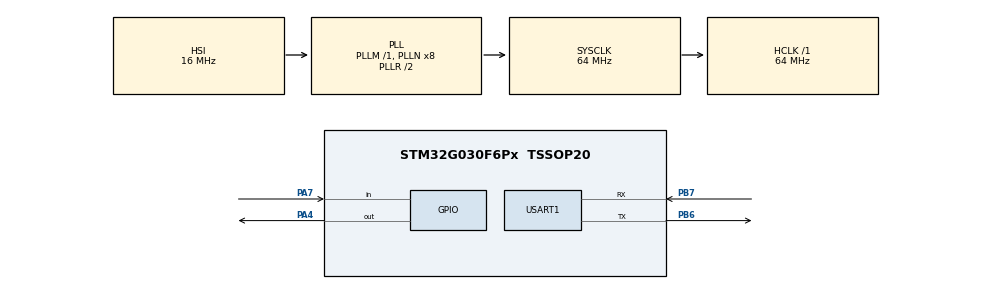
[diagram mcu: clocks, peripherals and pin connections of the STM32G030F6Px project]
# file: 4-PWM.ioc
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Mcu.Family=STM32G0
Mcu.Name=STM32G030F6Px
Mcu.Package=TSSOP20
NVIC.TIM16_IRQn=true\:2\:0\:true\:false\:true\:true\:true\:true
NVIC.USART1_IRQn=true\:1\:0\:true\:false\:true\:true\:true\:true
PA13.Mode=Serial_Wire
PA13.Signal=SYS_SWDIO
PA14-BOOT0.Mode=Serial_Wire
PA14-BOOT0.Signal=SYS_SWCLK
PA14-BOOT0__PA15.StandardMode=true
PA4.Signal=GPIO_Output
PA7.Signal=GPIO_Input
PB0__PB1__PB2__PA8.StandardMode=true
PB3__PB4__PB5__PB6.StandardMode=true
PB6.Mode=Asynchronous
PB6.Signal=USART1_TX
PB7.Mode=Asynchronous
PB7.Signal=USART1_RX
PB7__PB8.StandardMode=true
PC14-OSC32_IN\ (PC14)__PB9.StandardMode=true
ProjectManager.HeapSize=0x200
ProjectManager.StackSize=0x400
ProjectManager.TargetToolchain=MDK-ARM V5.32
RCC.ADCFreq_Value=64000000
RCC.AHBFreq_Value=64000000
RCC.CortexFreq_Value=64000000
RCC.EXTERNAL_CLOCK_VALUE=12288000
RCC.HCLKFreq_Value=64000000
RCC.HSE_VALUE=8000000
RCC.HSI_VALUE=16000000
RCC.LSE_VALUE=32768
RCC.SYSCLKFreq_VALUE=64000000
RCC.SYSCLKSource=RCC_SYSCLKSOURCE_PLLCLK
RCC.VCOOutputFreq_Value=128000000
TIM16.Period=5000-1
TIM16.Prescaler=6400-1
USART1.VirtualMode-Asynchronous=VM_ASYNC
VP_TIM16_VS_ClockSourceINT.Mode=Enable_Timer
board=custom

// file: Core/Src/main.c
/* USER CODE BEGIN Header */
/**
  ******************************************************************************
  * @file           : main.c
  * @brief          : Main program body
  ******************************************************************************
  * @attention
  *
  * Copyright (c) 2023 STMicroelectronics.
  * All rights reserved.
  *
  * This software is licensed under terms that can be found in the LICENSE file
  * in the root directory of this software component.
  * If no LICENSE file comes with this software, it is provided AS-IS.
  *
  ******************************************************************************
  */
/* USER CODE END Header */
#include "main.h"
#include "tim.h"
#include "usart.h"
#include "gpio.h"

/* USER CODE BEGIN PTD */

#define USER_KEY    HAL_GPIO_ReadPin(GPIOA,GPIO_PIN_7)  //KEY按键PA7

#define USER_KEY_PRES	1		//KEY
/* USER CODE END PTD */

void SystemClock_Config(void);

/* USER CODE BEGIN 0 */
uint8_t KEY_Scan(uint8_t mode);

/* USER CODE END 0 */

int main(void)
{
  /* USER CODE BEGIN 1 */
	uint8_t t=0;
	extern uint32_t tim_ms;
  /* USER CODE END 1 */

  /* MCU Configuration--------------------------------------------------------*/

  /* Reset of all peripherals, Initializes the Flash interface and the Systick. */
  HAL_Init();

  /* Configure the system clock */
  SystemClock_Config();

  /* Initialize all configured peripherals */
  MX_GPIO_Init();
  MX_USART1_UART_Init();
  MX_TIM16_Init();//时钟频率64M 计算可得定时器16的中断进入时间是500ms
  /* USER CODE BEGIN 2 */
  HAL_GPIO_WritePin(GPIOA,GPIO_PIN_4,GPIO_PIN_RESET);   //PA4对应引脚低

  /* USER CODE END 2 */

  /* Infinite loop */
  while (1)
  {

    /* USER CODE BEGIN 3 */
		t=KEY_Scan(0);		//得到键值
		if(t==USER_KEY_PRES){
			tim_ms=0;
			printf("\r\nKEY按键按下 已清空计数器\r\n");
		}
  }
  /* USER CODE END 3 */
}

void SystemClock_Config(void)
{
  RCC_OscInitTypeDef RCC_OscInitStruct = {0};
  RCC_ClkInitTypeDef RCC_ClkInitStruct = {0};

  /** Configure the main internal regulator output voltage
  */
  HAL_PWREx_ControlVoltageScaling(PWR_REGULATOR_VOLTAGE_SCALE1);

  /** Initializes the RCC Oscillators according to the specified parameters
  * in the RCC_OscInitTypeDef structure.
  */
  RCC_OscInitStruct.OscillatorType = RCC_OSCILLATORTYPE_HSI;
  RCC_OscInitStruct.HSIState = RCC_HSI_ON;
  RCC_OscInitStruct.HSIDiv = RCC_HSI_DIV1;
  RCC_OscInitStruct.HSICalibrationValue = RCC_HSICALIBRATION_DEFAULT;
  RCC_OscInitStruct.PLL.PLLState = RCC_PLL_ON;
  RCC_OscInitStruct.PLL.PLLSource = RCC_PLLSOURCE_HSI;
  RCC_OscInitStruct.PLL.PLLM = RCC_PLLM_DIV1;
  RCC_OscInitStruct.PLL.PLLN = 8;
  RCC_OscInitStruct.PLL.PLLP = RCC_PLLP_DIV2;
  RCC_OscInitStruct.PLL.PLLR = RCC_PLLR_DIV2;
  if (HAL_RCC_OscConfig(&RCC_OscInitStruct) != HAL_OK)
  {
    Error_Handler();
  }

  /** Initializes the CPU, AHB and APB buses clocks
  */
  RCC_ClkInitStruct.ClockType = RCC_CLOCKTYPE_HCLK|RCC_CLOCKTYPE_SYSCLK
                              |RCC_CLOCKTYPE_PCLK1;
  RCC_ClkInitStruct.SYSCLKSource = RCC_SYSCLKSOURCE_PLLCLK;
  RCC_ClkInitStruct.AHBCLKDivider = RCC_SYSCLK_DIV1;
  RCC_ClkInitStruct.APB1CLKDivider = RCC_HCLK_DIV1;

  if (HAL_RCC_ClockConfig(&RCC_ClkInitStruct, FLASH_LATENCY_2) != HAL_OK)
  {
    Error_Handler();
  }
}

/* USER CODE BEGIN 4 */

//按键处理函数
//返回按键值
//mode:0,不支持连续按;1,支持连续按;
//返回值：
//0，没有任何按键按下
//USER_KEY_PRES，USER_KEY按下

uint8_t KEY_Scan(uint8_t mode)
{
	static uint8_t key_up=1;//按键按松开标志
	if(mode)key_up=1;  //支持连按
	if(key_up&&(USER_KEY==0))
	{
		HAL_Delay(10);//去抖动
		key_up=0;
		if(USER_KEY==0)return USER_KEY_PRES;
	}else if(USER_KEY==1)key_up=1;
	return 0;// 无按键按下
}

/* USER CODE END 4 */

void Error_Handler(void)
{
  __disable_irq();
  while (1)
  {
  }
}
